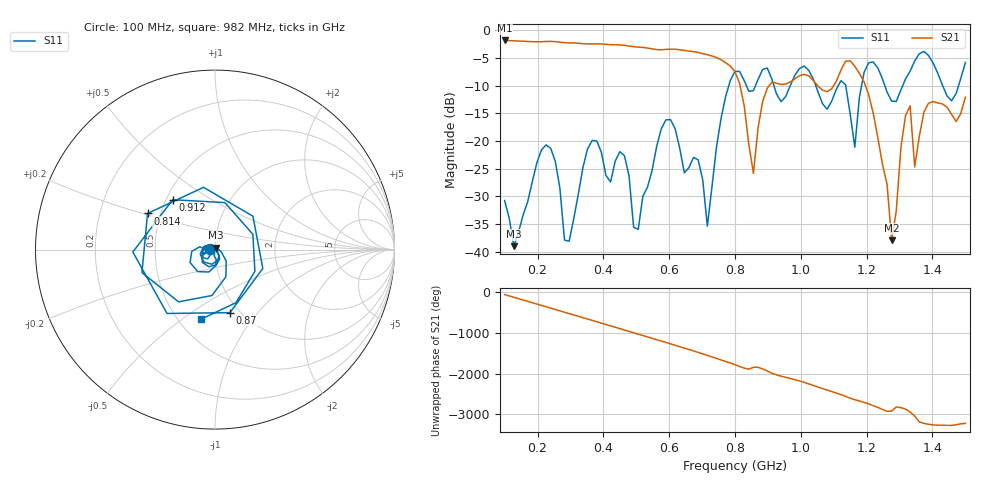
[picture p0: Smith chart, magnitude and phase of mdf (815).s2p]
! NanoVNA-App
! Date: 2025-09-25 15:44:46
! Start: 100MHz Stop: 1,5GHz Points: 101
! S-Parameter data: F S11 S21 S12 S22
# Hz S RI R 50
!  Frequency  S11_Real  S11_Imag  S21_Real  S21_Imag  S12_Real  S12_Imag  S22_Real  S22_Imag
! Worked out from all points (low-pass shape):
!   101 points, 100 MHz to 1.5 GHz, reference 50 ohm
!   highest |S21| = -1.80 dB at 100 MHz (marker M1); lowest = -37.9 dB at 1.276 GHz (marker M2)
!   |S21| within 3 dB of the highest: start of sweep to 739.3 MHz
!   lowest |S11| = -39.0 dB at 128 MHz (marker M3), VSWR 1.02, Z = 50.3 + j1.08 ohm
!   |S11| at or under -10 dB: start of sweep to 781 MHz; 1.046 GHz to 1.114 GHz (68.04 MHz wide, 6.3 % of centre); 1.255 GHz to 1.309 GHz (53.95 MHz wide, 4.21 % of centre)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
!   S12 and S22 are empty: the file has one direction only
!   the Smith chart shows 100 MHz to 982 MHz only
!   S11 on the Smith chart (normalised r, x): 100 MHz: 0.94, -0.01; 814 MHz: 0.42, +0.21; 870 MHz: 0.90, -0.73; 912 MHz: 0.54, +0.35; 982 MHz: 0.65, -0.59
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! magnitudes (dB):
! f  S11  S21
! 100 MHz  -30.7  -1.8
! 128 MHz  -39.0  -1.9
! 212 MHz  -21.6  -2.0
! 282 MHz  -37.9  -2.2
! 338 MHz  -24.7  -2.4
! 464 MHz  -22.6  -2.7
! 506 MHz  -35.9  -3.0
! 576 MHz  -17.8  -3.5
! 716 MHz  -35.4  -4.4
! 800 MHz  -7.4  -7.4
! 814 MHz  -7.4  -9.6
! 856 MHz  -10.9  -25.8
! 870 MHz  -8.9  -17.6
! 912 MHz  -8.8  -9.3
! 982 MHz  -8.1  -8.7
! 1.038 GHz  -8.8  -9.0
! 1.164 GHz  -21.1  -6.5
! 1.192 GHz  -7.6  -9.2
! 1.276 GHz  -12.8  -37.9
! 1.332 GHz  -7.4  -13.6
! 1.346 GHz  -5.5  -24.7
! 1.5 GHz  -5.8  -12.1
